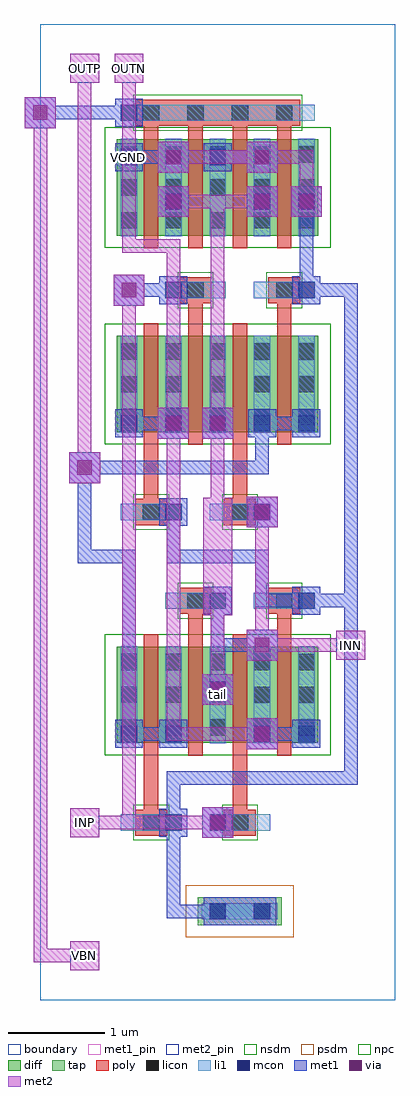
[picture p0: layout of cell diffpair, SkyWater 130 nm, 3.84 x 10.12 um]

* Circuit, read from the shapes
.subckt diffpair INN INP OUTN OUTP VBN VGND tail
XM1 OUTP VGND OUTP VGND sky130_fd_pr__nfet_01v8 w=1 l=0.15 m=2
XM2 OUTN VGND OUTN VGND sky130_fd_pr__nfet_01v8 w=1 l=0.15 m=2
XM3 tail VBN VGND VGND sky130_fd_pr__nfet_01v8 w=1 l=0.15 m=4
XM4 tail INN OUTP VGND sky130_fd_pr__nfet_01v8 w=1 l=0.15 m=2
XM5 tail INP OUTN VGND sky130_fd_pr__nfet_01v8 w=1 l=0.15 m=2
.ends

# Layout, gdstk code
import gdstk
lib = gdstk.Library(unit=1e-6, precision=1e-09)
def R(c, l, rs):  # rectangles x0, y0, x1, y1
    for r in rs: c.add(gdstk.rectangle(r[:2], r[2:], *l))
def A(c, l, x, y, w, h, nx, ny, dx, dy):  # array of equal rectangles
    R(c, l, [(x+i*dx, y+j*dy, x+i*dx+w, y+j*dy+h) for i in range(nx) for j in range(ny)])
diff = (65, 20)
tap = (65, 44)
poly = (66, 20)
licon = (66, 44)
li1 = (67, 20)
mcon = (67, 44)
met1_pin = (68, 16)
met1 = (68, 20)
via = (68, 44)
met2_pin = (69, 16)
met2 = (69, 20)
nsdm = (93, 44)
psdm = (94, 20)
npc = (95, 20)
boundary = (235, 4)

diffpair = lib.new_cell('diffpair')
R(diffpair, diff, [(0.795,2.665,2.885,3.665), (0.795,5.885,2.885,6.885), (0.795,7.925,2.885,8.925)])
R(diffpair, tap, [(1.635,0.775,2.505,1.065)])
A(diffpair, poly, 1.075, 7.795, 0.15, 1.405, 4, 1, 0.46, 0)
R(diffpair, poly, [(0.985,1.705,1.315,1.975), (1.905,1.705,2.235,1.975), (1.075,1.84,1.225,3.795), (1.995,1.84,2.145,3.795), (1.535,2.535,1.685,4.14), (2.455,2.535,2.605,4.14), (1.445,4.005,1.775,4.275), (2.365,4.005,2.695,4.275), (0.985,4.925,1.315,5.195), (1.905,4.925,2.235,5.195), (1.075,5.06,1.225,7.015), (1.995,5.06,2.145,7.015), (1.535,5.755,1.685,7.36), (2.455,5.755,2.605,7.36), (1.445,7.225,1.775,7.495), (2.365,7.225,2.695,7.495), (0.985,9.065,2.695,9.335)])
A(diffpair, licon, 0.835, 2.74, 0.17, 0.17, 5, 3, 0.46, 0.34)
A(diffpair, licon, 0.835, 5.96, 0.17, 0.17, 5, 3, 0.46, 0.34)
A(diffpair, licon, 0.835, 8, 0.17, 0.17, 5, 3, 0.46, 0.34)
A(diffpair, licon, 1.065, 9.115, 0.17, 0.17, 4, 1, 0.46, 0)
R(diffpair, licon, [(1.755,0.835,1.925,1.005), (2.215,0.835,2.385,1.005), (1.065,1.755,1.235,1.925), (1.985,1.755,2.155,1.925), (1.525,4.055,1.695,4.225), (2.445,4.055,2.615,4.225), (1.065,4.975,1.235,5.145), (1.985,4.975,2.155,5.145), (1.525,7.275,1.695,7.445), (2.445,7.275,2.615,7.445)])
A(diffpair, li1, 0.835, 2.66, 0.17, 1.01, 5, 2, 0.46, 3.22)
A(diffpair, li1, 0.835, 7.92, 0.17, 1.01, 5, 1, 0.46, 0)
R(diffpair, li1, [(1.675,0.835,2.465,1.005), (0.835,1.755,1.465,1.925), (1.755,1.755,2.385,1.925), (1.295,4.055,1.925,4.225), (2.215,4.055,2.845,4.225), (0.835,4.975,1.465,5.145), (1.755,4.975,2.385,5.145), (1.295,7.275,1.925,7.445), (2.215,7.275,2.845,7.445), (0.835,9.115,2.845,9.285)])
A(diffpair, mcon, 1.295, 2.675, 0.17, 0.17, 1, 3, 0, 2.3)
A(diffpair, mcon, 0.835, 5.895, 0.17, 0.17, 5, 1, 0.46, 0)
R(diffpair, mcon, [(1.755,0.835,1.925,1.005), (2.215,0.835,2.385,1.005), (1.295,1.755,1.465,1.925), (1.755,1.755,1.925,1.925), (0.835,2.675,1.005,2.845), (2.215,2.675,2.385,2.845), (2.675,2.675,2.845,2.845), (1.755,3.135,1.925,3.305), (1.755,4.055,1.925,4.225), (2.675,4.055,2.845,4.225), (2.215,4.975,2.385,5.145), (2.675,7.275,2.845,7.445), (1.295,8.195,1.465,8.365), (2.215,8.195,2.385,8.365), (2.675,8.195,2.845,8.365), (0.835,8.655,1.005,8.825), (1.755,8.655,1.925,8.825), (0.835,9.115,1.005,9.285)])
R(diffpair, met1_pin, [(0.775,8.595,1.065,8.885)])
A(diffpair, met1, 1.235, 2.615, 0.29, 0.29, 1, 3, 0, 2.3)
A(diffpair, met1, 0.775, 5.835, 0.29, 0.29, 5, 1, 0.46, 0)
A(diffpair, met1, 0.85, 5.91, 0.6, 0.14, 1, 3, 0, 1.38)
R(diffpair, met1, [(1.695,0.775,2.445,1.065), (1.31,0.85,1.45,1.91), (1.31,0.85,1.91,0.99), (1.77,0.85,1.91,0.99), (1.68,1.68,2,2), (1.235,1.695,1.525,1.985), (1.695,1.695,1.985,1.985), (1.31,1.77,1.45,2.37), (1.31,2.23,3.29,2.37), (3.15,2.23,3.29,4.21), (2.14,2.6,2.46,2.92), (0.775,2.615,1.065,2.905), (2.155,2.615,2.445,2.905), (2.615,2.615,2.905,2.905), (0.85,2.69,1.45,2.83), (0.85,2.69,0.99,4.67), (2.23,2.69,2.83,2.83), (1.68,3.06,2,3.38), (1.695,3.075,1.985,3.365), (2.14,3.52,2.46,3.84), (1.77,3.61,2.37,3.75), (1.77,3.61,1.91,4.21), (1.695,3.995,1.985,4.285), (2.615,3.995,2.905,4.285), (2.23,4.07,2.83,4.21), (2.23,4.07,2.37,4.67), (2.69,4.07,3.29,4.21), (3.15,4.07,3.29,7.43), (0.39,4.53,0.53,5.59), (0.39,4.53,0.99,4.67), (1.31,4.53,1.45,5.13), (1.31,4.53,2.37,4.67), (2.14,4.9,2.46,5.22), (2.155,4.915,2.445,5.205), (0.3,5.36,0.62,5.68), (0.39,5.45,2.37,5.59), (2.23,5.45,2.37,6.05), (1.22,5.82,1.54,6.14), (1.68,5.82,2,6.14), (2.23,5.91,2.83,6.05), (0.76,7.2,1.08,7.52), (2.615,7.215,2.905,7.505), (2.69,7.29,2.83,8.35), (2.69,7.29,3.29,7.43), (1.22,8.12,1.54,8.44), (2.14,8.12,2.46,8.44), (2.6,8.12,2.92,8.44), (1.235,8.135,1.525,8.425), (2.155,8.135,2.445,8.425), (2.615,8.135,2.905,8.425), (1.22,8.58,1.54,8.9), (2.14,8.58,2.46,8.9), (0.775,8.595,1.065,8.885), (1.695,8.595,1.985,8.885), (1.77,8.67,2.37,8.81), (-0.16,9.04,0.16,9.36), (0.775,9.055,1.065,9.345), (-0.07,9.13,0.99,9.27)])
R(diffpair, via, [(1.765,1.765,1.915,1.915), (2.225,2.685,2.375,2.835), (1.765,3.145,1.915,3.295), (2.225,3.605,2.375,3.755), (2.225,4.985,2.375,5.135), (0.385,5.445,0.535,5.595), (1.305,5.905,1.455,6.055), (1.765,5.905,1.915,6.055), (0.845,7.285,0.995,7.435), (1.305,8.205,1.455,8.355), (2.225,8.205,2.375,8.355), (2.685,8.205,2.835,8.355), (1.305,8.665,1.455,8.815), (2.225,8.665,2.375,8.815), (-0.075,9.125,0.075,9.275)])
R(diffpair, met2_pin, [(0.31,0.31,0.61,0.61), (0.31,1.69,0.61,1.99), (3.07,3.53,3.37,3.83), (0.31,9.51,0.61,9.81), (0.77,9.51,1.07,9.81)])
R(diffpair, met2, [(0.31,0.31,0.61,0.61), (-0.07,0.39,0.53,0.53), (-0.07,0.39,0.07,9.27), (0.39,0.39,0.53,0.53), (1.68,1.68,2,2), (0.31,1.69,0.61,1.99), (0.39,1.77,0.53,1.91), (0.39,1.77,1.91,1.91), (0.85,1.77,0.99,7.43), (2.14,2.6,2.46,2.92), (1.31,2.69,2.37,2.83), (1.31,2.69,1.45,6.05), (1.68,3.06,2,3.38), (1.77,3.15,1.91,4.21), (2.14,3.52,2.46,3.84), (3.07,3.53,3.37,3.83), (2.23,3.61,3.29,3.75), (2.23,3.61,2.37,5.13), (3.15,3.61,3.29,3.75), (1.69,3.99,1.99,5.21), (2.14,4.9,2.46,5.22), (1.77,4.99,1.91,6.05), (0.3,5.36,0.62,5.68), (0.39,5.45,0.53,9.73), (1.22,5.82,1.54,6.14), (1.68,5.82,2,6.14), (1.31,5.91,1.45,7.89), (1.77,5.91,1.91,8.35), (0.76,7.2,1.08,7.52), (0.85,7.75,1.45,7.89), (0.85,7.75,0.99,9.73), (1.22,8.12,1.54,8.44), (2.14,8.12,2.46,8.44), (2.6,8.12,2.92,8.44), (1.31,8.21,1.91,8.35), (1.77,8.21,2.37,8.35), (2.69,8.21,2.83,8.81), (1.22,8.58,1.54,8.9), (2.14,8.58,2.46,8.9), (1.31,8.67,2.37,8.81), (2.23,8.67,2.83,8.81), (-0.16,9.04,0.16,9.36), (0.31,9.51,0.61,9.81), (0.77,9.51,1.07,9.81), (0.39,9.59,0.53,9.73), (0.85,9.59,0.99,9.73)])
R(diffpair, nsdm, [(0.67,2.54,3.01,3.79), (0.67,5.76,3.01,7.01), (0.67,7.8,3.01,9.05)])
R(diffpair, psdm, [(1.51,0.65,2.63,1.19)])
R(diffpair, npc, [(0.965,1.655,1.335,2.025), (1.885,1.655,2.255,2.025), (1.425,3.955,1.795,4.325), (2.345,3.955,2.715,4.325), (0.965,4.875,1.335,5.245), (1.885,4.875,2.255,5.245), (1.425,7.175,1.795,7.545), (2.345,7.175,2.715,7.545), (0.965,9.015,2.715,9.385)])
R(diffpair, boundary, [(0,0,3.68,10.12)])
diffpair.add(gdstk.Label('tail', (1.84,3.165), layer=67, texttype=5))
diffpair.add(gdstk.Label('VGND', (0.92,8.74), layer=68, texttype=5))
diffpair.add(gdstk.Label('INP', (0.46,1.84), layer=69, texttype=5))
diffpair.add(gdstk.Label('INN', (3.22,3.68), layer=69, texttype=5))
diffpair.add(gdstk.Label('VBN', (0.46,0.46), layer=69, texttype=5))
diffpair.add(gdstk.Label('OUTP', (0.46,9.66), layer=69, texttype=5))
diffpair.add(gdstk.Label('OUTN', (0.92,9.66), layer=69, texttype=5))
diffpair.add(gdstk.Label('VGND', (0.92,8.74), layer=68, texttype=16))
diffpair.add(gdstk.Label('INP', (0.46,1.84), layer=69, texttype=16))
diffpair.add(gdstk.Label('INN', (3.22,3.68), layer=69, texttype=16))
diffpair.add(gdstk.Label('VBN', (0.46,0.46), layer=69, texttype=16))
diffpair.add(gdstk.Label('OUTP', (0.46,9.66), layer=69, texttype=16))
diffpair.add(gdstk.Label('OUTN', (0.92,9.66), layer=69, texttype=16))

lib.write_gds('diffpair.gds')
